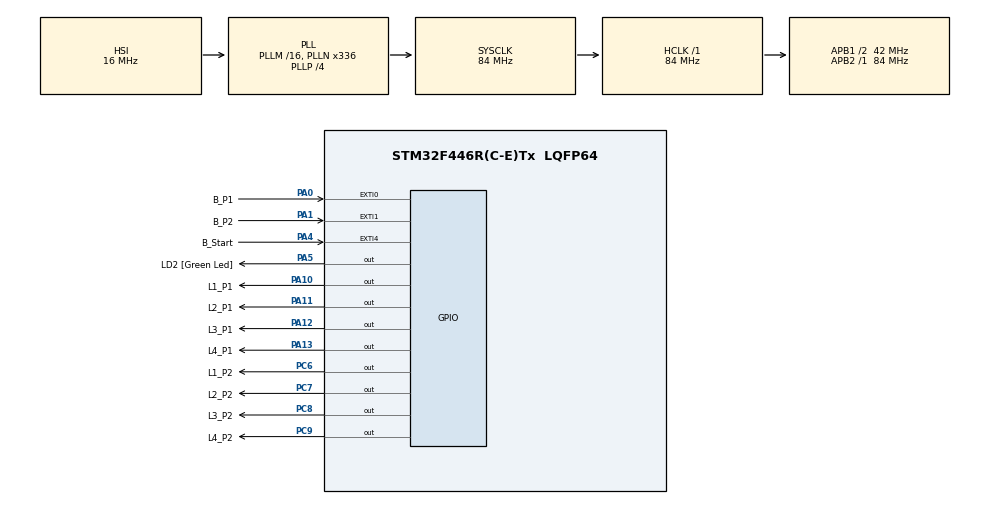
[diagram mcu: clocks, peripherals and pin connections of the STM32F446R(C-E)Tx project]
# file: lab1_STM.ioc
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Mcu.Family=STM32F4
Mcu.Name=STM32F446R(C-E)Tx
Mcu.Package=LQFP64
NVIC.EXTI0_IRQn=true\:0\:0\:false\:false\:true\:true\:true\:true
NVIC.EXTI1_IRQn=true\:0\:0\:false\:false\:true\:true\:true\:true
NVIC.EXTI4_IRQn=true\:0\:0\:false\:false\:true\:true\:true\:true
NVIC.PriorityGroup=NVIC_PRIORITYGROUP_0
PA0-WKUP.GPIO_Label=B_P1
PA0-WKUP.GPIO_ModeDefaultEXTI=GPIO_MODE_IT_FALLING
PA0-WKUP.GPIO_PuPd=GPIO_PULLUP
PA0-WKUP.Signal=GPXTI0
PA1.GPIO_Label=B_P2
PA1.GPIO_ModeDefaultEXTI=GPIO_MODE_IT_FALLING
PA1.GPIO_PuPd=GPIO_PULLUP
PA1.Signal=GPXTI1
PA10.GPIO_Label=L1_P1
PA10.Signal=GPIO_Output
PA11.GPIO_Label=L2_P1
PA11.Signal=GPIO_Output
PA12.GPIO_Label=L3_P1
PA12.Signal=GPIO_Output
PA13.GPIO_Label=L4_P1
PA13.Signal=GPIO_Output
PA14.GPIO_Label=TCK
PA14.Signal=SYS_JTCK-SWCLK
PA2.GPIO_Label=USART_TX
PA2.Signal=USART2_TX
PA3.GPIO_Label=USART_RX
PA3.Signal=USART2_RX
PA4.GPIO_Label=B_Start
PA4.GPIO_ModeDefaultEXTI=GPIO_MODE_IT_FALLING
PA4.GPIO_PuPd=GPIO_PULLUP
PA4.Signal=GPXTI4
PA5.GPIO_Label=LD2 [Green Led]
PA5.Signal=GPIO_Output
PC14-OSC32_IN.Signal=RCC_OSC32_IN
PC15-OSC32_OUT.Signal=RCC_OSC32_OUT
PC6.GPIO_Label=L1_P2
PC6.Signal=GPIO_Output
PC7.GPIO_Label=L2_P2
PC7.Signal=GPIO_Output
PC8.GPIO_Label=L3_P2
PC8.Signal=GPIO_Output
PC9.GPIO_Label=L4_P2
PC9.Signal=GPIO_Output
PH0-OSC_IN.Signal=RCC_OSC_IN
PH1-OSC_OUT.Signal=RCC_OSC_OUT
ProjectManager.HeapSize=0x200
ProjectManager.StackSize=0x400
ProjectManager.TargetToolchain=STM32CubeIDE
RCC.AHBFreq_Value=84000000
RCC.APB1CLKDivider=RCC_HCLK_DIV2
RCC.APB1Freq_Value=42000000
RCC.APB1TimFreq_Value=84000000
RCC.APB2Freq_Value=84000000
RCC.APB2TimFreq_Value=84000000
RCC.CortexFreq_Value=84000000
RCC.FLatency-AdvancedSettings=FLASH_LATENCY_2
RCC.HCLKFreq_Value=84000000
RCC.HSE_VALUE=8000000
RCC.HSI_VALUE=16000000
RCC.LSE_VALUE=32768
RCC.PLLN=336
RCC.PLLP=RCC_PLLP_DIV4
RCC.SYSCLKFreq_VALUE=84000000
RCC.SYSCLKSource=RCC_SYSCLKSOURCE_PLLCLK
RCC.USBFreq_Value=168000000
RCC.VCOOutputFreq_Value=336000000
board=NUCLEO-F446RE

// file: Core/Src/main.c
/* USER CODE BEGIN Header */
/**
  ******************************************************************************
  * @file           : main.c
  * @brief          : Main program body
  ******************************************************************************
  * @attention
  *
  * Copyright (c) 2026 STMicroelectronics.
  * All rights reserved.
  *
  * This software is licensed under terms that can be found in the LICENSE file
  * in the root directory of this software component.
  * If no LICENSE file comes with this software, it is provided AS-IS.
  *
  ******************************************************************************
  */
/* USER CODE END Header */
#include "main.h"

/* USER CODE BEGIN PV */

// --- Estado del juego ---
volatile uint8_t contadorJ1 = 0;
volatile uint8_t contadorJ2 = 0;
volatile uint8_t carreraActiva = 0;   // 1 = jugadores pueden presionar
volatile uint8_t juegoTerminado = 0;  // 1 = ya hay ganador
volatile uint8_t ganador = 0;         // 0 = nadie, 1 = J1, 2 = J2

#define META 4  // LEDs necesarios para ganar

// Anti-rebote: último tick (ms) en que cada botón generó un evento válido
volatile uint32_t lastTickJ1 = 0;
volatile uint32_t lastTickJ2 = 0;
volatile uint32_t lastTickStart = 0;
#define DEBOUNCE_MS 50

/* USER CODE END PV */

void SystemClock_Config(void);
static void MX_GPIO_Init(void);

/* USER CODE BEGIN 0 */

void actualizarLedsJ1(uint8_t n)
{
    HAL_GPIO_WritePin(L1_P1_GPIO_Port, L1_P1_Pin, (n >= 1) ? GPIO_PIN_SET : GPIO_PIN_RESET);
    HAL_GPIO_WritePin(L2_P1_GPIO_Port, L2_P1_Pin, (n >= 2) ? GPIO_PIN_SET : GPIO_PIN_RESET);
    HAL_GPIO_WritePin(L3_P1_GPIO_Port, L3_P1_Pin, (n >= 3) ? GPIO_PIN_SET : GPIO_PIN_RESET);
    HAL_GPIO_WritePin(L4_P1_GPIO_Port, L4_P1_Pin, (n >= 4) ? GPIO_PIN_SET : GPIO_PIN_RESET);
}

void actualizarLedsJ2(uint8_t n)
{
    HAL_GPIO_WritePin(L1_P2_GPIO_Port, L1_P2_Pin, (n >= 1) ? GPIO_PIN_SET : GPIO_PIN_RESET);
    HAL_GPIO_WritePin(L2_P2_GPIO_Port, L2_P2_Pin, (n >= 2) ? GPIO_PIN_SET : GPIO_PIN_RESET);
    HAL_GPIO_WritePin(L3_P2_GPIO_Port, L3_P2_Pin, (n >= 3) ? GPIO_PIN_SET : GPIO_PIN_RESET);
    HAL_GPIO_WritePin(L4_P2_GPIO_Port, L4_P2_Pin, (n >= 4) ? GPIO_PIN_SET : GPIO_PIN_RESET);
}

void revisarGanador(void)
{
    if (juegoTerminado) return;

    if (contadorJ1 >= META) {
        ganador = 1;
        juegoTerminado = 1;
        carreraActiva = 0;
        actualizarLedsJ1(4);
        actualizarLedsJ2(0);
        // Aquí después (post-lab) agregas mostrar "1" en el display
    } else if (contadorJ2 >= META) {
        ganador = 2;
        juegoTerminado = 1;
        carreraActiva = 0;
        actualizarLedsJ2(4);
        actualizarLedsJ1(0);
        // Aquí después (post-lab) agregas mostrar "2" en el display
    }
}

void HAL_GPIO_EXTI_Callback(uint16_t GPIO_Pin)
{
    uint32_t ahora = HAL_GetTick();

    if (GPIO_Pin == B_Start_Pin) {
        if ((ahora - lastTickStart) > DEBOUNCE_MS) {
            lastTickStart = ahora;
            if (!carreraActiva) {
                // Por ahora sin cuenta regresiva (eso va en el post-lab con el display)
                contadorJ1 = 0;
                contadorJ2 = 0;
                juegoTerminado = 0;
                ganador = 0;
                actualizarLedsJ1(0);
                actualizarLedsJ2(0);
                carreraActiva = 1;
            }
        }
    }
    else if (GPIO_Pin == B_P1_Pin) {
        if ((ahora - lastTickJ1) > DEBOUNCE_MS) {
            lastTickJ1 = ahora;
            if (carreraActiva && !juegoTerminado) {
                contadorJ1++;
                actualizarLedsJ1(contadorJ1);
                revisarGanador();
            }
        }
    }
    else if (GPIO_Pin == B_P2_Pin) {
        if ((ahora - lastTickJ2) > DEBOUNCE_MS) {
            lastTickJ2 = ahora;
            if (carreraActiva && !juegoTerminado) {
                contadorJ2++;
                actualizarLedsJ2(contadorJ2);
                revisarGanador();
            }
        }
    }
}

/* USER CODE END 0 */

int main(void)
{

  /* MCU Configuration--------------------------------------------------------*/

  /* Reset of all peripherals, Initializes the Flash interface and the Systick. */
  HAL_Init();

  /* Configure the system clock */
  SystemClock_Config();

  /* Initialize all configured peripherals */
  MX_GPIO_Init();

  /* Infinite loop */
  while (1)
  {

  }
}

void SystemClock_Config(void)
{
  RCC_OscInitTypeDef RCC_OscInitStruct = {0};
  RCC_ClkInitTypeDef RCC_ClkInitStruct = {0};

  /** Configure the main internal regulator output voltage
  */
  __HAL_RCC_PWR_CLK_ENABLE();
  __HAL_PWR_VOLTAGESCALING_CONFIG(PWR_REGULATOR_VOLTAGE_SCALE3);

  /** Initializes the RCC Oscillators according to the specified parameters
  * in the RCC_OscInitTypeDef structure.
  */
  RCC_OscInitStruct.OscillatorType = RCC_OSCILLATORTYPE_HSI;
  RCC_OscInitStruct.HSIState = RCC_HSI_ON;
  RCC_OscInitStruct.HSICalibrationValue = RCC_HSICALIBRATION_DEFAULT;
  RCC_OscInitStruct.PLL.PLLState = RCC_PLL_ON;
  RCC_OscInitStruct.PLL.PLLSource = RCC_PLLSOURCE_HSI;
  RCC_OscInitStruct.PLL.PLLM = 16;
  RCC_OscInitStruct.PLL.PLLN = 336;
  RCC_OscInitStruct.PLL.PLLP = RCC_PLLP_DIV4;
  RCC_OscInitStruct.PLL.PLLQ = 2;
  RCC_OscInitStruct.PLL.PLLR = 2;
  if (HAL_RCC_OscConfig(&RCC_OscInitStruct) != HAL_OK)
  {
    Error_Handler();
  }

  /** Initializes the CPU, AHB and APB buses clocks
  */
  RCC_ClkInitStruct.ClockType = RCC_CLOCKTYPE_HCLK|RCC_CLOCKTYPE_SYSCLK
                              |RCC_CLOCKTYPE_PCLK1|RCC_CLOCKTYPE_PCLK2;
  RCC_ClkInitStruct.SYSCLKSource = RCC_SYSCLKSOURCE_PLLCLK;
  RCC_ClkInitStruct.AHBCLKDivider = RCC_SYSCLK_DIV1;
  RCC_ClkInitStruct.APB1CLKDivider = RCC_HCLK_DIV2;
  RCC_ClkInitStruct.APB2CLKDivider = RCC_HCLK_DIV1;

  if (HAL_RCC_ClockConfig(&RCC_ClkInitStruct, FLASH_LATENCY_2) != HAL_OK)
  {
    Error_Handler();
  }
}

static void MX_GPIO_Init(void)
{
  GPIO_InitTypeDef GPIO_InitStruct = {0};

  /* GPIO Ports Clock Enable */
  __HAL_RCC_GPIOC_CLK_ENABLE();
  __HAL_RCC_GPIOH_CLK_ENABLE();
  __HAL_RCC_GPIOA_CLK_ENABLE();

  /*Configure GPIO pin Output Level */
  HAL_GPIO_WritePin(GPIOA, LD2_Pin|L1_P1_Pin|L2_P1_Pin|L3_P1_Pin
                          |L4_P1_Pin, GPIO_PIN_RESET);

  /*Configure GPIO pin Output Level */
  HAL_GPIO_WritePin(GPIOC, L1_P2_Pin|L2_P2_Pin|L3_P2_Pin|L4_P2_Pin, GPIO_PIN_RESET);

  /*Configure GPIO pins : B_P1_Pin B_P2_Pin B_Start_Pin */
  GPIO_InitStruct.Pin = B_P1_Pin|B_P2_Pin|B_Start_Pin;
  GPIO_InitStruct.Mode = GPIO_MODE_IT_FALLING;
  GPIO_InitStruct.Pull = GPIO_PULLUP;
  HAL_GPIO_Init(GPIOA, &GPIO_InitStruct);

  /*Configure GPIO pins : USART_TX_Pin USART_RX_Pin */
  GPIO_InitStruct.Pin = USART_TX_Pin|USART_RX_Pin;
  GPIO_InitStruct.Mode = GPIO_MODE_AF_PP;
  GPIO_InitStruct.Pull = GPIO_NOPULL;
  GPIO_InitStruct.Speed = GPIO_SPEED_FREQ_VERY_HIGH;
  GPIO_InitStruct.Alternate = GPIO_AF7_USART2;
  HAL_GPIO_Init(GPIOA, &GPIO_InitStruct);

  /*Configure GPIO pins : LD2_Pin L1_P1_Pin L2_P1_Pin L3_P1_Pin
                           L4_P1_Pin */
  GPIO_InitStruct.Pin = LD2_Pin|L1_P1_Pin|L2_P1_Pin|L3_P1_Pin
                          |L4_P1_Pin;
  GPIO_InitStruct.Mode = GPIO_MODE_OUTPUT_PP;
  GPIO_InitStruct.Pull = GPIO_NOPULL;
  GPIO_InitStruct.Speed = GPIO_SPEED_FREQ_LOW;
  HAL_GPIO_Init(GPIOA, &GPIO_InitStruct);

  /*Configure GPIO pins : L1_P2_Pin L2_P2_Pin L3_P2_Pin L4_P2_Pin */
  GPIO_InitStruct.Pin = L1_P2_Pin|L2_P2_Pin|L3_P2_Pin|L4_P2_Pin;
  GPIO_InitStruct.Mode = GPIO_MODE_OUTPUT_PP;
  GPIO_InitStruct.Pull = GPIO_NOPULL;
  GPIO_InitStruct.Speed = GPIO_SPEED_FREQ_LOW;
  HAL_GPIO_Init(GPIOC, &GPIO_InitStruct);

  /* EXTI interrupt init*/
  HAL_NVIC_SetPriority(EXTI0_IRQn, 0, 0);
  HAL_NVIC_EnableIRQ(EXTI0_IRQn);

  HAL_NVIC_SetPriority(EXTI1_IRQn, 0, 0);
  HAL_NVIC_EnableIRQ(EXTI1_IRQn);

  HAL_NVIC_SetPriority(EXTI4_IRQn, 0, 0);
  HAL_NVIC_EnableIRQ(EXTI4_IRQn);

}

void Error_Handler(void)
{
  __disable_irq();
  while (1)
  {
  }
}
